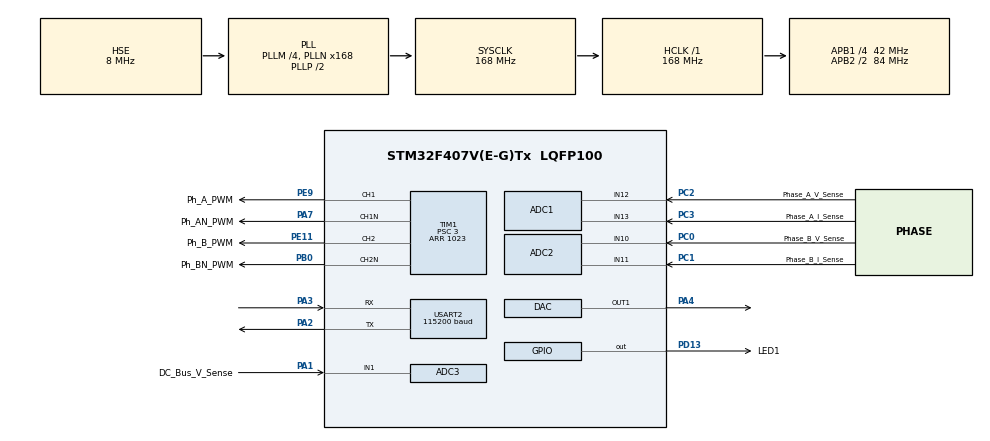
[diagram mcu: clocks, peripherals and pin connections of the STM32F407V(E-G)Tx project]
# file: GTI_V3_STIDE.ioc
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ADC1.Channel-0\#ChannelRegularConversion=ADC_CHANNEL_12
ADC1.Channel-1\#ChannelRegularConversion=ADC_CHANNEL_13
ADC1.ContinuousConvMode=DISABLE
ADC1.DMAContinuousRequests=ENABLE
ADC1.EOCSelection=ADC_EOC_SEQ_CONV
ADC1.EnableAnalogWatchDog=false
ADC1.ExternalTrigConv=ADC_EXTERNALTRIGCONV_T3_TRGO
ADC1.Mode=ADC_DUALMODE_REGSIMULT
ADC1.NbrOfConversion=2
ADC1.NbrOfConversionFlag=1
ADC1.Rank-0\#ChannelRegularConversion=1
ADC1.Rank-1\#ChannelRegularConversion=2
ADC1.SamplingTime-0\#ChannelRegularConversion=ADC_SAMPLETIME_15CYCLES
ADC1.SamplingTime-1\#ChannelRegularConversion=ADC_SAMPLETIME_15CYCLES
ADC1.ScanConvMode=ENABLE
ADC1.TwoSamplingDelay=ADC_TWOSAMPLINGDELAY_5CYCLES
ADC1.master=1
ADC2.Channel-0\#ChannelRegularConversion=ADC_CHANNEL_10
ADC2.Channel-1\#ChannelRegularConversion=ADC_CHANNEL_11
ADC2.ContinuousConvMode=DISABLE
ADC2.DMAAccessMode=ADC_DMAACCESSMODE_2
ADC2.DMAContinuousRequests=DISABLE
ADC2.Mode=ADC_DUALMODE_REGSIMULT
ADC2.NbrOfConversion=2
ADC2.NbrOfConversionFlag=1
ADC2.Rank-0\#ChannelRegularConversion=1
ADC2.Rank-1\#ChannelRegularConversion=2
ADC2.SamplingTime-0\#ChannelRegularConversion=ADC_SAMPLETIME_15CYCLES
ADC2.SamplingTime-1\#ChannelRegularConversion=ADC_SAMPLETIME_15CYCLES
ADC3.Channel-3\#ChannelRegularConversion=ADC_CHANNEL_1
ADC3.ClockPrescaler=ADC_CLOCK_SYNC_PCLK_DIV4
ADC3.ContinuousConvMode=DISABLE
ADC3.DMAAccessMode=ADC_DMAACCESSMODE_2
ADC3.DMAContinuousRequests=ENABLE
ADC3.EOCSelection=ADC_EOC_SINGLE_CONV
ADC3.ExternalTrigConv=ADC_EXTERNALTRIGCONV_T2_TRGO
ADC3.Mode=ADC_DUALMODE_REGSIMULT
ADC3.NbrOfConversion=1
ADC3.NbrOfConversionFlag=1
ADC3.Rank-3\#ChannelRegularConversion=1
ADC3.SamplingTime-3\#ChannelRegularConversion=ADC_SAMPLETIME_15CYCLES
ADC3.ScanConvMode=DISABLE
Dma.ADC1.0.Direction=DMA_PERIPH_TO_MEMORY
Dma.ADC1.0.FIFOMode=DMA_FIFOMODE_DISABLE
Dma.ADC1.0.Instance=DMA2_Stream0
Dma.ADC1.0.MemDataAlignment=DMA_MDATAALIGN_WORD
Dma.ADC1.0.MemInc=DMA_MINC_ENABLE
Dma.ADC1.0.Mode=DMA_CIRCULAR
Dma.ADC1.0.PeriphDataAlignment=DMA_PDATAALIGN_WORD
Dma.ADC1.0.PeriphInc=DMA_PINC_DISABLE
Dma.ADC1.0.Priority=DMA_PRIORITY_HIGH
Dma.ADC3.1.Direction=DMA_PERIPH_TO_MEMORY
Dma.ADC3.1.FIFOMode=DMA_FIFOMODE_DISABLE
Dma.ADC3.1.Instance=DMA2_Stream1
Dma.ADC3.1.MemDataAlignment=DMA_MDATAALIGN_HALFWORD
Dma.ADC3.1.MemInc=DMA_MINC_ENABLE
Dma.ADC3.1.Mode=DMA_CIRCULAR
Dma.ADC3.1.PeriphDataAlignment=DMA_PDATAALIGN_HALFWORD
Dma.ADC3.1.PeriphInc=DMA_PINC_DISABLE
Dma.ADC3.1.Priority=DMA_PRIORITY_HIGH
Dma.Request0=ADC1
Dma.Request1=ADC3
Dma.Request2=USART2_TX
Dma.USART2_TX.2.Direction=DMA_MEMORY_TO_PERIPH
Dma.USART2_TX.2.FIFOMode=DMA_FIFOMODE_DISABLE
Dma.USART2_TX.2.Instance=DMA1_Stream6
Dma.USART2_TX.2.MemDataAlignment=DMA_MDATAALIGN_BYTE
Dma.USART2_TX.2.MemInc=DMA_MINC_ENABLE
Dma.USART2_TX.2.Mode=DMA_NORMAL
Dma.USART2_TX.2.PeriphDataAlignment=DMA_PDATAALIGN_BYTE
Dma.USART2_TX.2.PeriphInc=DMA_PINC_DISABLE
Dma.USART2_TX.2.Priority=DMA_PRIORITY_LOW
Mcu.Family=STM32F4
Mcu.Name=STM32F407V(E-G)Tx
Mcu.Package=LQFP100
NVIC.DMA1_Stream6_IRQn=true\:0\:0\:false\:false\:true\:false\:true\:true
NVIC.DMA2_Stream0_IRQn=true\:0\:0\:false\:false\:true\:false\:true\:true
NVIC.DMA2_Stream1_IRQn=true\:0\:0\:false\:false\:true\:false\:true\:true
NVIC.PriorityGroup=NVIC_PRIORITYGROUP_4
NVIC.TIM1_BRK_TIM9_IRQn=true\:0\:0\:false\:false\:true\:true\:true\:true
NVIC.TIM1_TRG_COM_TIM11_IRQn=true\:0\:0\:false\:false\:true\:true\:true\:true
NVIC.TIM1_UP_TIM10_IRQn=true\:0\:0\:false\:false\:true\:true\:true\:true
NVIC.TIM8_BRK_TIM12_IRQn=true\:0\:0\:false\:false\:true\:true\:true\:true
NVIC.USART2_IRQn=true\:0\:0\:false\:false\:true\:true\:true\:true
PA1.GPIO_Label=DC_Bus_V_Sense
PA1.Signal=ADCx_IN1
PA2.Mode=Asynchronous
PA2.Signal=USART2_TX
PA3.Mode=Asynchronous
PA3.Signal=USART2_RX
PA4.Signal=COMP_DAC1_group
PA7.GPIO_Label=Ph_AN_PWM
PA7.GPIO_Speed=GPIO_SPEED_FREQ_VERY_HIGH
PA7.Mode=PWM Generation1 CH1 CH1N
PA7.Signal=TIM1_CH1N
PB0.GPIO_Label=Ph_BN_PWM
PB0.GPIO_Speed=GPIO_SPEED_FREQ_VERY_HIGH
PB0.Mode=PWM Generation2 CH2 CH2N
PB0.Signal=TIM1_CH2N
PC0.GPIO_Label=Phase_B_V_Sense
PC0.Signal=ADCx_IN10
PC1.GPIO_Label=Phase_B_I_Sense
PC1.Signal=ADCx_IN11
PC2.GPIO_Label=Phase_A_V_Sense
PC2.Signal=ADCx_IN12
PC3.GPIO_Label=Phase_A_I_Sense
PC3.Signal=ADCx_IN13
PD13.GPIO_Label=LED1
PD13.Signal=GPIO_Output
PE11.GPIO_Label=Ph_B_PWM
PE11.GPIO_Speed=GPIO_SPEED_FREQ_VERY_HIGH
PE11.Signal=S_TIM1_CH2
PE9.GPIO_Label=Ph_A_PWM
PE9.GPIO_Speed=GPIO_SPEED_FREQ_VERY_HIGH
PE9.Signal=S_TIM1_CH1
PH0-OSC_IN.Mode=HSE-External-Oscillator
PH0-OSC_IN.Signal=RCC_OSC_IN
PH1-OSC_OUT.Mode=HSE-External-Oscillator
PH1-OSC_OUT.Signal=RCC_OSC_OUT
ProjectManager.HeapSize=0x200
ProjectManager.StackSize=0x400
ProjectManager.TargetToolchain=STM32CubeIDE
RCC.48MHZClocksFreq_Value=84000000
RCC.AHBFreq_Value=168000000
RCC.APB1CLKDivider=RCC_HCLK_DIV4
RCC.APB1Freq_Value=42000000
RCC.APB1TimFreq_Value=84000000
RCC.APB2CLKDivider=RCC_HCLK_DIV2
RCC.APB2Freq_Value=84000000
RCC.APB2TimFreq_Value=168000000
RCC.CortexFreq_Value=168000000
RCC.HCLKFreq_Value=168000000
RCC.HSE_VALUE=8000000
RCC.HSI_VALUE=16000000
RCC.LSE_VALUE=32768
RCC.PLLM=4
RCC.PLLN=168
RCC.PLLSourceVirtual=RCC_PLLSOURCE_HSE
RCC.SYSCLKFreq_VALUE=168000000
RCC.SYSCLKSource=RCC_SYSCLKSOURCE_PLLCLK
RCC.VCOOutputFreq_Value=336000000
SH.ADCx_IN1.0=ADC3_IN1,IN1
SH.ADCx_IN10.0=ADC2_IN10,IN10
SH.ADCx_IN11.0=ADC2_IN11,IN11
SH.ADCx_IN12.0=ADC1_IN12,IN12
SH.ADCx_IN13.0=ADC1_IN13,IN13
SH.COMP_DAC1_group.0=DAC_OUT1,DAC_OUT1
SH.S_TIM1_CH1.0=TIM1_CH1,PWM Generation1 CH1 CH1N
SH.S_TIM1_CH2.0=TIM1_CH2,PWM Generation2 CH2 CH2N
TIM1.BreakState=TIM_BREAK_DISABLE
TIM1.Channel-PWM\ Generation1\ CH1\ CH1N=TIM_CHANNEL_1
TIM1.Channel-PWM\ Generation2\ CH2\ CH2N=TIM_CHANNEL_2
TIM1.DeadTime=50
TIM1.OCNIdleState_1=TIM_OCNIDLESTATE_RESET
TIM1.OCNIdleState_2=TIM_OCNIDLESTATE_RESET
TIM1.OCNPolarity_1=TIM_OCNPOLARITY_HIGH
TIM1.OCNPolarity_2=TIM_OCNPOLARITY_HIGH
TIM1.Period=1023
TIM1.Prescaler=3
TIM10.Period=16799
TIM11.Period=13125
TIM12.Period=9999
TIM12.Prescaler=839
TIM2.Period=999
TIM2.Prescaler=83
TIM2.TIM_MasterOutputTrigger=TIM_TRGO_UPDATE
TIM3.Period=49
TIM3.Prescaler=83
TIM3.TIM_MasterOutputTrigger=TIM_TRGO_UPDATE
TIM3.TIM_MasterSlaveMode=TIM_MASTERSLAVEMODE_DISABLE
TIM9.Period=999
TIM9.Prescaler=167
USART2.BaudRate=115200
USART2.Mode=MODE_TX
USART2.VirtualMode=VM_ASYNC
VP_TIM10_VS_ClockSourceINT.Mode=Enable_Timer
VP_TIM11_VS_ClockSourceINT.Mode=Enable_Timer
VP_TIM12_VS_ClockSourceINT.Mode=Internal
VP_TIM1_VS_ClockSourceINT.Mode=Internal
VP_TIM2_VS_ClockSourceINT.Mode=Internal
VP_TIM3_VS_ClockSourceINT.Mode=Internal
VP_TIM9_VS_ClockSourceINT.Mode=Internal
board=custom

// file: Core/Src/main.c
/* USER CODE BEGIN Header */
/**
  ******************************************************************************
  * @file           : main.c
  * @brief          : Main program body
  ******************************************************************************
  *	James Fotherby
  * August 2022
  *
  * Description:
  *	This software runs our grid tie inverter
  *
  *	To Do:
  *	 - Vary joining voltage based on DC bus voltage and grid RMS
  *
  *	 Aim:
  *	  - To have the GTI able to go from zero current to max current in under 1 second.
  *
  ******************************************************************************
  */
/* USER CODE END Header */
#include "main.h"
#include "adc.h"
#include "dac.h"
#include "dma.h"
#include "tim.h"
#include "usart.h"
#include "gpio.h"

/* USER CODE BEGIN Includes */
//#define ARM_MATH_CM4 - WE HAVE DONE THIS UNDER OPTIONS FOR TARGET
#include "arm_math.h"
#include "math.h"
#include "support.h"
#include "PID.h"
#include "filter1.h"
#include "filter150.h"
#include "string.h"
#include "stdio.h"
/* USER CODE END Includes */

/* USER CODE BEGIN PD */
#define 		PLL_Kp 					4.0e-3f 								// PID parameters for our PLL tracking control
#define 		PLL_Ki 					2.0e-2f									// PoM: 4.0e-3f, 2.0e-2f
#define 		PLL_Kd 					0.0f
#define 		PLL_LIMIT 				500.0f
#define 		PLL_PERIOD 				7.8e-5f 								// 1 / (50 * 256) seconds
#define 		SINE_STEP_PERIOD 		13125 									// Ticks between incrementing our LO (Local Osc) index for 50Hz sine

//##############################################
#define			FC_Kp 					1.0e-3f									// Fundamental component PI parameter
#define 		FC_Ki 					8.0e-3f									//
#define 		FC_Limits 				1.5f

#define			HC_Kp 					1.0e-3f									// Harmonic component PI parameters
#define 		HC_Ki 					2.0e-3f
#define 		HC_Limits 				1.5f
//##############################################
#define 		SINE_STEPS           	256                         			// Number of steps to build our sine wave in
#define 		DUTY_LIMIT 				1000 									// Our duty width can vary from 0-1024 however we don't want 100% modulation to avoid MOSFET drive bootstrap voltage drop

#define 		I_OFFSET 				-4155 									// These are calibration constants for our hardware
#define 		V_OFFSET 				725
#define 		V_DIVIDER_K 			1.475e-1f
#define 		I_DIVIDER_K 			1.563e-3f
#define 		F_CONVERSION_K 			3.817e-3f

#define 		RMS_LOWER_LIMIT 		100.0f 									// These values are for the grid checks. We disconnect if our metrics are out of these ranges (SI Units)
#define 		RMS_UPPER_LIMIT 		130.0f
#define 		FREQ_DEVIATION_LIMIT 	1.0f
#define			V_BUS_MINIMUM			200.0f
#define 		V_BUS_MAXIMUM 			320.0f
#define 		I_OUTPUT_MAXIMUM 		4.0f

#define 		ENABLE_JOINING_GRID 	true
#define 		GRID_ACCEPTABLE 		1000
#define 		GRID_UNACCEPTABLE 		-1000
#define 		GRID_BAD_FAIL_RATE 		10 										// Some grid checks are allowed to fail for a certain amount of time (eg. Frequency) this parameter determines for how long
#define 		GRID_OK					0

#define 		CONSTRAIN(x,lower,upper) ((x)<(lower)?(lower):((x)>(upper)?(upper):(x)))
/* USER CODE END PD */

/* USER CODE BEGIN PV */
float Sin_LookupF[256] =
{
	0.00,6.28,12.56,18.83,25.09,31.34,37.56,43.77,49.94,56.09,62.20,68.28,74.31,80.30,86.24,92.13,
	97.97,103.74,109.45,115.10,120.68,126.18,131.61,136.96,142.23,147.41,152.50,157.50,162.40,167.21,171.92,176.52,
	181.02,185.41,189.68,193.85,197.89,201.82,205.62,209.30,212.86,216.28,219.58,222.74,225.77,228.67,231.42,234.04,
	236.51,238.85,241.04,243.08,244.98,246.73,248.33,249.78,251.08,252.23,253.23,254.07,254.77,255.31,255.69,255.92,

	256.00,255.92,255.69,255.31,254.77,254.07,253.23,252.23,251.08,249.78,248.33,246.73,244.98,243.08,241.04,238.85,
	236.51,234.04,231.42,228.67,225.77,222.74,219.58,216.28,212.86,209.30,205.62,201.82,197.89,193.85,189.68,185.41,
	181.02,176.52,171.92,167.21,162.40,157.50,152.50,147.41,142.23,136.96,131.61,126.18,120.68,115.10,109.45,103.74,
	97.97,92.13,86.24,80.30,74.31,68.28,62.20,56.09,49.94,43.77,37.56,31.34,25.09,18.83,12.56,6.28,

	0.00,-6.28,-12.56,-18.83,-25.09,-31.34,-37.56,-43.77,-49.94,-56.09,-62.20,-68.28,-74.31,-80.30,-86.24,-92.13,
	-97.97,-103.74,-109.45,-115.10,-120.68,-126.18,-131.61,-136.96,-142.23,-147.41,-152.50,-157.50,-162.40,-167.21,-171.92,-176.52,
	-181.02,-185.41,-189.68,-193.85,-197.89,-201.82,-205.62,-209.30,-212.86,-216.28,-219.58,-222.74,-225.77,-228.67,-231.42,-234.04,
	-236.51,-238.85,-241.04,-243.08,-244.98,-246.73,-248.33,-249.78,-251.08,-252.23,-253.23,-254.07,-254.77,-255.31,-255.69,-255.92,

	-256.00,-255.92,-255.69,-255.31,-254.77,-254.07,-253.23,-252.23,-251.08,-249.78,-248.33,-246.73,-244.98,-243.08,-241.04,-238.85,
	-236.51,-234.04,-231.42,-228.67,-225.77,-222.74,-219.58,-216.28,-212.86,-209.30,-205.62,-201.82,-197.89,-193.85,-189.68,-185.41,
	-181.02,-176.52,-171.92,-167.21,-162.40,-157.50,-152.50,-147.41,-142.23,-136.96,-131.61,-126.18,-120.68,-115.10,-109.45,-103.74,
	-97.97,-92.13,-86.24,-80.30,-74.31,-68.28,-62.20,-56.09,-49.94,-43.77,-37.56,-31.34,-25.09,-18.83,-12.56,-6.28
};

float Cos_LookupF[256] =
{
	256.00,255.92,255.69,255.31,254.77,254.07,253.23,252.23,251.08,249.78,248.33,246.73,244.98,243.08,241.04,238.85,
	236.51,234.04,231.42,228.67,225.77,222.74,219.58,216.28,212.86,209.30,205.62,201.82,197.89,193.85,189.68,185.41,
	181.02,176.52,171.92,167.21,162.40,157.50,152.50,147.41,142.23,136.96,131.61,126.18,120.68,115.10,109.45,103.74,
	97.97,92.13,86.24,80.30,74.31,68.28,62.20,56.09,49.94,43.77,37.56,31.34,25.09,18.83,12.56,6.28,

	0.00,-6.28,-12.56,-18.83,-25.09,-31.34,-37.56,-43.77,-49.94,-56.09,-62.20,-68.28,-74.31,-80.30,-86.24,-92.13,
	-97.97,-103.74,-109.45,-115.10,-120.68,-126.18,-131.61,-136.96,-142.23,-147.41,-152.50,-157.50,-162.40,-167.21,-171.92,-176.52,
	-181.02,-185.41,-189.68,-193.85,-197.89,-201.82,-205.62,-209.30,-212.86,-216.28,-219.58,-222.74,-225.77,-228.67,-231.42,-234.04,
	-236.51,-238.85,-241.04,-243.08,-244.98,-246.73,-248.33,-249.78,-251.08,-252.23,-253.23,-254.07,-254.77,-255.31,-255.69,-255.92,

	-256.00,-255.92,-255.69,-255.31,-254.77,-254.07,-253.23,-252.23,-251.08,-249.78,-248.33,-246.73,-244.98,-243.08,-241.04,-238.85,
	-236.51,-234.04,-231.42,-228.67,-225.77,-222.74,-219.58,-216.28,-212.86,-209.30,-205.62,-201.82,-197.89,-193.85,-189.68,-185.41,
	-181.02,-176.52,-171.92,-167.21,-162.40,-157.50,-152.50,-147.41,-142.23,-136.96,-131.61,-126.18,-120.68,-115.10,-109.45,-103.74,
	-97.97,-92.13,-86.24,-80.30,-74.31,-68.28,-62.20,-56.09,-49.94,-43.77,-37.56,-31.34,-25.09,-18.83,-12.56,-6.28,

	0.00,6.28,12.56,18.83,25.09,31.34,37.56,43.77,49.94,56.09,62.20,68.28,74.31,80.30,86.24,92.13,
	97.97,103.74,109.45,115.10,120.68,126.18,131.61,136.96,142.23,147.41,152.50,157.50,162.40,167.21,171.92,176.52,
	181.02,185.41,189.68,193.85,197.89,201.82,205.62,209.30,212.86,216.28,219.58,222.74,225.77,228.67,231.42,234.04,
	236.51,238.85,241.04,243.08,244.98,246.73,248.33,249.78,251.08,252.23,253.23,254.07,254.77,255.31,255.69,255.92
};

// structures
PIDControl 			PLL_PID; 													// These structures are used to store the respective PID variables
PIDControl 			Sin_50_PID, Cos_50_PID;
PIDControl 			Sin_150_PID, Cos_150_PID;
PIDControl 			Sin_250_PID, Cos_250_PID;
PIDControl 			Sin_350_PID, Cos_350_PID;

struct 				IIR_Filter_Struct V_Phase_Filter, I_Phase_Filter, V_Bus_Filter;

// DMA buffers and flags
volatile uint16_t 	V_Bus_Raw[1]; 												// ADC3 writes here via the DMA
volatile int32_t 	IV_Output_Raw[2]; 											// The DMA writes our synchronously sampled ADC1 & ADC2 samples here (I_Phase A&B and V_Phase A&B alternately)
volatile uint8_t 	HB_Enabled_Flag, UART_Ready_Flag;

// Voltage and Current values
volatile int16_t 	V_Phase_A, V_Phase_B, I_Phase_A, I_Phase_B;
volatile int16_t 	V_Phase_Unfiltered, I_Phase_Unfiltered, V_Bus_Unfiltered;
volatile float 		V_Phase, I_Phase, V_Bus, Mains_RMS_SI, Freq_Offset_SI; 		// These are our filtered SI unit values

volatile uint8_t 	_50_Index = 0;
volatile uint8_t 	_150_Index = 0;
volatile uint8_t 	_250_Index = 0;
volatile uint8_t 	_350_Index = 0;

volatile int16_t 	Grid_Good_Bad_Cnt = GRID_UNACCEPTABLE;
volatile uint8_t 	REQUEST_JOIN = false, Error_Code;
volatile float 		Joining_Amplitude;

char 				UART_Tx_Buffer[48];

volatile float32_t 	Period_Samples[64];
volatile uint8_t 	Period_Index, Calc_FFT_Flag, Phase_Shift;
volatile uint32_t 	Calc_FFT_Counter;

float32_t 			FFT_Input[64];
float32_t 			FFT_Complex_Output[64];

/* USER CODE END PV */

void SystemClock_Config(void);
/* USER CODE BEGIN PFP */
void HAL_ADC_ConvCpltCallback(ADC_HandleTypeDef* hadc);
void HAL_TIM_PeriodElapsedCallback(TIM_HandleTypeDef *htim);
void HAL_UART_TxCpltCallback(UART_HandleTypeDef *huart);
void Initialisations(void);
void HB_Disable(void);
void HB_Enable(void);
/* USER CODE END PFP */

int main(void)
{

  /* MCU Configuration--------------------------------------------------------*/

  /* Reset of all peripherals, Initialises the Flash interface and the Systick. */
  HAL_Init();

  /* Configure the system clock */
  SystemClock_Config();

  /* Initialize all configured peripherals */
  MX_GPIO_Init();
  MX_DMA_Init();
  MX_TIM1_Init();
  MX_TIM9_Init();
  MX_TIM10_Init();
  MX_TIM11_Init();
  MX_ADC1_Init();
  MX_ADC2_Init();
  MX_TIM3_Init();
  MX_ADC3_Init();
  MX_TIM2_Init();
  MX_USART2_UART_Init();
  MX_DAC_Init();
  MX_TIM12_Init();
  /* USER CODE BEGIN 2 */

  Initialisations();
  arm_rfft_fast_instance_f32 S;

  uint16_t i;

  /* USER CODE END 2 */

  /* Infinite loop */
  /* USER CODE BEGIN WHILE */
  while (1)
  {
	if(Calc_FFT_Flag == 1)
	{
		Calc_FFT_Flag = 0;

		// 1) Calculate the FFT of our output current waveform
		for(i = 0; i < 64; i++) {
			FFT_Input[i] = Period_Samples[i];
		}

		arm_rfft_fast_init_f32(&S, 64);
		arm_rfft_fast_f32(&S, FFT_Input, FFT_Complex_Output, 0);

		// 2) Extract the Sine/Cosine components from the 1,3,5,7th harmonics
		Sin_50_PID.input = FFT_Complex_Output[2];
		Cos_50_PID.input = FFT_Complex_Output[3];

		Sin_150_PID.input = FFT_Complex_Output[6];
		Cos_150_PID.input = FFT_Complex_Output[7];

		Sin_250_PID.input = FFT_Complex_Output[10];
		Cos_250_PID.input = FFT_Complex_Output[11];

		Sin_350_PID.input = FFT_Complex_Output[14];
		Cos_350_PID.input = FFT_Complex_Output[15];

		// 3) For each harmonic run a PI controller to compensate for the harmonics and eradicate them
		PIDCompute(&Sin_50_PID);
		PIDCompute(&Cos_50_PID);

		PIDCompute(&Sin_150_PID);
		PIDCompute(&Cos_150_PID);

		PIDCompute(&Sin_250_PID);
		PIDCompute(&Cos_250_PID);

		PIDCompute(&Sin_350_PID);
		PIDCompute(&Cos_350_PID);
	}

    /* USER CODE END WHILE */

  }
}

void SystemClock_Config(void)
{
  RCC_OscInitTypeDef RCC_OscInitStruct = {0};
  RCC_ClkInitTypeDef RCC_ClkInitStruct = {0};

  /** Configure the main internal regulator output voltage
  */
  __HAL_RCC_PWR_CLK_ENABLE();
  __HAL_PWR_VOLTAGESCALING_CONFIG(PWR_REGULATOR_VOLTAGE_SCALE1);

  /** Initializes the RCC Oscillators according to the specified parameters
  * in the RCC_OscInitTypeDef structure.
  */
  RCC_OscInitStruct.OscillatorType = RCC_OSCILLATORTYPE_HSE;
  RCC_OscInitStruct.HSEState = RCC_HSE_ON;
  RCC_OscInitStruct.PLL.PLLState = RCC_PLL_ON;
  RCC_OscInitStruct.PLL.PLLSource = RCC_PLLSOURCE_HSE;
  RCC_OscInitStruct.PLL.PLLM = 4;
  RCC_OscInitStruct.PLL.PLLN = 168;
  RCC_OscInitStruct.PLL.PLLP = RCC_PLLP_DIV2;
  RCC_OscInitStruct.PLL.PLLQ = 4;
  if (HAL_RCC_OscConfig(&RCC_OscInitStruct) != HAL_OK)
  {
    Error_Handler();
  }

  /** Initializes the CPU, AHB and APB buses clocks
  */
  RCC_ClkInitStruct.ClockType = RCC_CLOCKTYPE_HCLK|RCC_CLOCKTYPE_SYSCLK
                              |RCC_CLOCKTYPE_PCLK1|RCC_CLOCKTYPE_PCLK2;
  RCC_ClkInitStruct.SYSCLKSource = RCC_SYSCLKSOURCE_PLLCLK;
  RCC_ClkInitStruct.AHBCLKDivider = RCC_SYSCLK_DIV1;
  RCC_ClkInitStruct.APB1CLKDivider = RCC_HCLK_DIV4;
  RCC_ClkInitStruct.APB2CLKDivider = RCC_HCLK_DIV2;

  if (HAL_RCC_ClockConfig(&RCC_ClkInitStruct, FLASH_LATENCY_5) != HAL_OK)
  {
    Error_Handler();
  }
}

/* USER CODE BEGIN 4 */
void Initialisations() {
	// 1) Start the ADC engines - These continuously replenish circular buffers with fresh ADC readings
	HAL_ADC_Start(&hadc2);
	HAL_ADCEx_MultiModeStart_DMA(&hadc1, (uint32_t*)IV_Output_Raw, 2);
	HAL_ADC_Start_DMA(&hadc3, (uint32_t*)V_Bus_Raw, 1);

	// 2) Configure our PID parameters
	PIDInit(&PLL_PID, PLL_Kp, PLL_Ki, PLL_Kd, PLL_PERIOD, -PLL_LIMIT, PLL_LIMIT, AUTOMATIC, DIRECT, P_ON_M);

	PIDInit(&Sin_50_PID, FC_Kp, FC_Ki, 0.0f, 0.02f, -FC_Limits, FC_Limits, AUTOMATIC, DIRECT, P_ON_E);
	PIDInit(&Cos_50_PID, FC_Kp, FC_Ki, 0.0f, 0.02f, -FC_Limits, FC_Limits, AUTOMATIC, DIRECT, P_ON_E);

	PIDInit(&Sin_150_PID, HC_Kp, HC_Ki, 0.0f, 0.02f, -HC_Limits, HC_Limits, AUTOMATIC, DIRECT, P_ON_E);
	PIDInit(&Cos_150_PID, HC_Kp, HC_Ki, 0.0f, 0.02f, -HC_Limits, HC_Limits, AUTOMATIC, DIRECT, P_ON_E);

	PIDInit(&Sin_250_PID, HC_Kp, HC_Ki, 0.0f, 0.02f, -HC_Limits, HC_Limits, AUTOMATIC, DIRECT, P_ON_E);
	PIDInit(&Cos_250_PID, HC_Kp, HC_Ki, 0.0f, 0.02f, -HC_Limits, HC_Limits, AUTOMATIC, DIRECT, P_ON_E);

	PIDInit(&Sin_350_PID, HC_Kp, HC_Ki, 0.0f, 0.02f, -HC_Limits, HC_Limits, AUTOMATIC, DIRECT, P_ON_E);
	PIDInit(&Cos_350_PID, HC_Kp, HC_Ki, 0.0f, 0.02f, -HC_Limits, HC_Limits, AUTOMATIC, DIRECT, P_ON_E);

	// 3) Start our timers
	HAL_DAC_Start(&hdac, DAC_CHANNEL_1);
	HAL_TIM_Base_Start_IT(&htim2);
	HAL_TIM_Base_Start_IT(&htim3);
	HAL_TIM_Base_Start_IT(&htim9);
	HAL_TIM_Base_Start_IT(&htim10);
	HAL_TIM_Base_Start_IT(&htim11);
	HAL_TIM_Base_Start_IT(&htim12);

	// Initialise our filter coefficients
	V_Phase_Filter.alpha = 0.6f;
	I_Phase_Filter.alpha = 0.6f;
	V_Bus_Filter.alpha = 0.05f;

	sprintf(UART_Tx_Buffer, "%i\r", 0);
	HAL_UART_Transmit_DMA(&huart2, (uint8_t*)UART_Tx_Buffer, strlen(UART_Tx_Buffer));
	HAL_GPIO_WritePin(LED1_GPIO_Port, LED1_Pin, GPIO_PIN_SET);
}

void HB_Disable() {
	// Disable the H-Bridge
	HAL_TIM_PWM_Stop(&htim1, TIM_CHANNEL_1);
	HAL_TIMEx_PWMN_Stop(&htim1, TIM_CHANNEL_1);
	HAL_TIM_PWM_Stop(&htim1, TIM_CHANNEL_2);
	HAL_TIMEx_PWMN_Stop(&htim1, TIM_CHANNEL_2);

	HB_Enabled_Flag = false;
}

void HB_Enable() {
	// Start our PWM driver which uses Timer1 to power our H-bridge. Both channels start with Duty = 0
	HAL_TIM_PWM_Start(&htim1, TIM_CHANNEL_1);
	HAL_TIMEx_PWMN_Start(&htim1, TIM_CHANNEL_1);
	HAL_TIM_PWM_Start(&htim1, TIM_CHANNEL_2);
	HAL_TIMEx_PWMN_Start(&htim1, TIM_CHANNEL_2);

	HB_Enabled_Flag = true;
}

void HAL_UART_TxCpltCallback(UART_HandleTypeDef *huart) {
	UART_Ready_Flag = 1;
}

void HAL_ADC_ConvCpltCallback(ADC_HandleTypeDef* hadc) {
	// This callback extracts ADC data each time fresh values come in
	if(hadc == &hadc3)
	{
		V_Bus_Unfiltered = V_Bus_Raw[0];
		V_Bus = DSP_Filter(&V_Bus_Filter, (float)V_Bus_Unfiltered) * V_DIVIDER_K;
	}
	else
	{
		V_Phase_A = IV_Output_Raw[0] & 0xFFFF;
		V_Phase_B = IV_Output_Raw[0] >> 16;
		V_Phase_Unfiltered = V_Phase_A - V_Phase_B + V_OFFSET;

		I_Phase_A = IV_Output_Raw[1] & 0xFFFF;
		I_Phase_B = IV_Output_Raw[1] >> 16;
		I_Phase_Unfiltered = -(I_Phase_A + I_Phase_B + I_OFFSET);

		V_Phase = DSP_Filter(&V_Phase_Filter, (float)V_Phase_Unfiltered) * V_DIVIDER_K;
		I_Phase = DSP_Filter(&I_Phase_Filter, (float)I_Phase_Unfiltered) * I_DIVIDER_K;
	}
}

void HAL_TIM_PeriodElapsedCallback(TIM_HandleTypeDef *htim) {
	if (htim == &htim9)
	{
		// -----------------------------------------------------------------------------------------------------------------------------------
		// #################### Runs every 1ms to perform our grid/DC Bus checks etc for our anti-islanding ##################################
		// -----------------------------------------------------------------------------------------------------------------------------------

		// Calculate some grid metrics for some following checks
		Mains_RMS_SI = Integrate_Mains_RMS(V_Phase_Unfiltered) * V_DIVIDER_K; 			// Update our mains RMS measurement
		Freq_Offset_SI = PLL_PID.output * F_CONVERSION_K; 								// Get the frequency difference between the grid and a 50Hz reference

		// These are high priority checks:
		if(V_Bus > V_BUS_MAXIMUM)	{													// If our DC Bus voltage is too high cut-out immediately
			Grid_Good_Bad_Cnt = GRID_UNACCEPTABLE;
			Error_Code |= 0b00001;
		}

		if(I_Phase > I_OUTPUT_MAXIMUM || I_Phase < -I_OUTPUT_MAXIMUM)	{				// Likewise, if we detect excess current flowing, cut-out immediately
			Grid_Good_Bad_Cnt = GRID_UNACCEPTABLE;
			Error_Code |= 0b00010;
		}

		// These are lower priority checks and have to be out of range for an amount of time
		if(Mains_RMS_SI > RMS_UPPER_LIMIT || Mains_RMS_SI < RMS_LOWER_LIMIT)	{		// If mains RMS voltage whacky
			Grid_Good_Bad_Cnt -= GRID_BAD_FAIL_RATE;
			Error_Code |= 0b00100;
		}

		if(Freq_Offset_SI > FREQ_DEVIATION_LIMIT || Freq_Offset_SI < -FREQ_DEVIATION_LIMIT)	{
			Grid_Good_Bad_Cnt -= GRID_BAD_FAIL_RATE;									// If our mains frequency is out of tolerance
			Error_Code |= 0b01000;
		}

		if(V_Bus < V_BUS_MINIMUM)	{													// If our DC Bus voltage is too low
			Grid_Good_Bad_Cnt -= GRID_BAD_FAIL_RATE;
			Error_Code |= 0b10000;
		}

		// Act on the above checks
		if(Grid_Good_Bad_Cnt < GRID_OK && HB_Enabled_Flag) { 							// If our metrics have been whacky for too long stop output
			HB_Disable(); 																// This puts the H-bridge into a high impedance state
			Grid_Good_Bad_Cnt = GRID_UNACCEPTABLE;
		}

		if(HB_Enabled_Flag == false) { 													// With our output idle, if the grid has normalised, restart
			if(Grid_Good_Bad_Cnt == GRID_ACCEPTABLE && ENABLE_JOINING_GRID) {
				REQUEST_JOIN = true;
			}
		}

		// Constrain and decay any error counts
		Grid_Good_Bad_Cnt++;
		Grid_Good_Bad_Cnt = CONSTRAIN(Grid_Good_Bad_Cnt, GRID_UNACCEPTABLE, GRID_ACCEPTABLE);
	}

	if (htim == &htim10)
	{
		// -----------------------------------------------------------------------------------------------------------------------------------
		// ######### Runs every 100us to measure the instantaneous current output and adjust our PWM duty to reach setpoint current ###########
		// -----------------------------------------------------------------------------------------------------------------------------------
		static int16_t Duty_Cycle;

		// If we currently have disabled H-Bridges and are ready to join with the grid
		if(REQUEST_JOIN == true && _50_Index == 0) {
			Joining_Amplitude = (Mains_RMS_SI / V_Bus) * -6.7;

			REQUEST_JOIN = false;

			Cos_50_PID.setpoint = 0;													// We start we no requested output current

			Sin_50_PID.iTerm = 0;  Sin_50_PID.output = 0;
			Cos_50_PID.iTerm = 0;  Cos_50_PID.output = 0;
			Sin_150_PID.iTerm = 0; Sin_150_PID.output = 0;
			Cos_150_PID.iTerm = 0; Cos_150_PID.output = 0;
			Sin_250_PID.iTerm = 0; Sin_250_PID.output = 0;
			Cos_250_PID.iTerm = 0; Cos_250_PID.output = 0;
			Sin_350_PID.iTerm = 0; Sin_350_PID.output = 0;
			Cos_350_PID.iTerm = 0; Cos_350_PID.output = 0;

			HB_Enable();
		}

		float32_t _50_HC  = (Sin_50_PID.output * Sin_LookupF[_50_Index])   + (Cos_50_PID.output * Cos_LookupF[_50_Index]);
		float32_t _150_HC = (Sin_150_PID.output * Sin_LookupF[_150_Index]) + (Cos_150_PID.output * Cos_LookupF[_150_Index]);
		float32_t _250_HC = (Sin_250_PID.output * Sin_LookupF[_250_Index]) + (Cos_250_PID.output * Cos_LookupF[_250_Index]);
		float32_t _350_HC = (Sin_350_PID.output * Sin_LookupF[_350_Index]) + (Cos_350_PID.output * Cos_LookupF[_350_Index]);

		Duty_Cycle = (int16_t)(Sin_LookupF[_50_Index] * Joining_Amplitude) - (int16_t)_50_HC - (int16_t)_150_HC - (int16_t)_250_HC - (int16_t)_350_HC;

		// Constrain and output the new duty cycle
		Duty_Cycle = CONSTRAIN(Duty_Cycle, -DUTY_LIMIT, DUTY_LIMIT);

		if(Duty_Cycle >= 0) {
			htim1.Instance->CCR1 = Duty_Cycle;
			htim1.Instance->CCR2 = 0;
		}
		else {
			htim1.Instance->CCR1 = 0;
			htim1.Instance->CCR2 = -Duty_Cycle;
		}

		// Output to DAC for debugging
		//uint32_t DAC_Data = 2048 + (int32_t)(Duty_Cycle);
		uint32_t DAC_Data = 2048 + (int32_t)(Period_Samples[Period_Index]*500.0f);		// For debugging stuff

		HAL_DAC_SetValue(&hdac, DAC_CHANNEL_1, DAC_ALIGN_12B_R, DAC_Data);
	}

	if (htim == &htim11)
	{
		// -----------------------------------------------------------------------------------------------------------------------------------
		// ################### Keeps our local oscillator synchronised to the grid by implementing a PLL with PI controller ##################
		// -----------------------------------------------------------------------------------------------------------------------------------
		int32_t Signal_Multiple = (int32_t)Cos_LookupF[_50_Index] * V_Phase_Unfiltered; // Multiply the LO Cosine value with our current phase voltage sample
		PLL_PID.input = Integral(Signal_Multiple / (int32_t)Mains_RMS_SI);   			// Integrate this Multiple over the last 1 period normalised to RMS

		PIDCompute(&PLL_PID); 															// Plug result in a PI controller to maintain 0 phase shift
		TIM11->ARR = SINE_STEP_PERIOD - (int32_t)PLL_PID.output; 						// adjust LO frequency (step period) to synchronise to mains phase

		_50_Index += 1; _150_Index += 3; _250_Index += 5; _350_Index += 7; 				// Increment our LO indices, since they're 8bits wide they will roll-over if they exceed 255

		if(_50_Index % 4 == 0) { 														// Here we store a filtered average of current waveform over 1 period
			Period_Index = _50_Index/4;
			Period_Samples[Period_Index] = I_Phase; 									//Period_Samples[Period_Index] - (0.05f * (Period_Samples[Period_Index] - I_Phase));

			if(_50_Index == 0) {
				Calc_FFT_Flag = 1;
			}
		}
	}

	if (htim == &htim12)
	{
		// -----------------------------------------------------------------------------------------------------------------------------------
		// ################### Runs every 30ms  #############################################################################################
		// -----------------------------------------------------------------------------------------------------------------------------------
		if(UART_Ready_Flag) {
			UART_Ready_Flag = 0;
			//sprintf(UART_Tx_Buffer, "%f, %f\n", FFT_Complex_Output[2], FFT_Complex_Output[3]);
			sprintf(UART_Tx_Buffer, "%f, %f, %f, %i\n", Mains_RMS_SI, V_Bus, Joining_Amplitude, Error_Code);
			HAL_UART_Transmit_DMA(&huart2, (uint8_t*)UART_Tx_Buffer, strlen(UART_Tx_Buffer));

			Error_Code = 0;
		}

		// Ramp up our output current gradually
		Cos_50_PID.setpoint += 0.2f;
		if(Cos_50_PID.setpoint >= 70.0f)
			Cos_50_PID.setpoint = 70.0f;
	}
}
/* USER CODE END 4 */

void Error_Handler(void)
{
}
